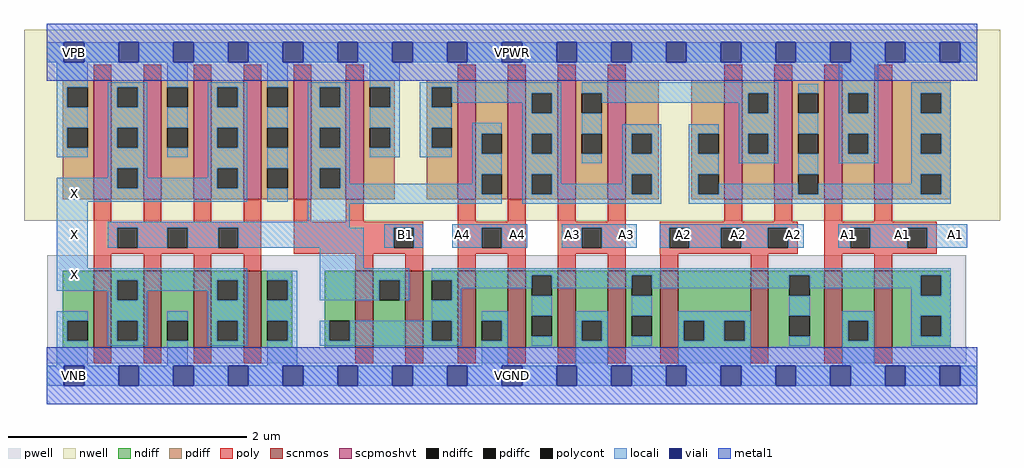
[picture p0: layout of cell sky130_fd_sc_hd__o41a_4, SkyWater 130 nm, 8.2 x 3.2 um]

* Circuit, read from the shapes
.subckt sky130_fd_sc_hd__o41a_4 A1 A2 A3 A4 B1 VGND VNB VPB VPWR X
XM1 X n1 VGND VNB sky130_fd_pr__nfet_01v8 w=0.65 l=0.15 m=4
XM2 n1 B1 n2 VNB sky130_fd_pr__nfet_01v8 w=0.65 l=0.15 m=2
XM3 VGND A4 n2 VNB sky130_fd_pr__nfet_01v8 w=0.65 l=0.15 m=2
XM4 VGND A3 n2 VNB sky130_fd_pr__nfet_01v8 w=0.65 l=0.15 m=2
XM5 VGND A2 n2 VNB sky130_fd_pr__nfet_01v8 w=0.65 l=0.15 m=2
XM6 VGND A1 n2 VNB sky130_fd_pr__nfet_01v8 w=0.65 l=0.15 m=2
XM7 X n1 VPWR VPB sky130_fd_pr__pfet_01v8_hvt w=1 l=0.15 m=4
XM8 n1 B1 VPWR VPB sky130_fd_pr__pfet_01v8_hvt w=1 l=0.15 m=2
XM9 n1 A4 n3 VPB sky130_fd_pr__pfet_01v8_hvt w=1 l=0.15 m=2
XM10 n4 A3 n3 VPB sky130_fd_pr__pfet_01v8_hvt w=1 l=0.15 m=2
XM11 n4 A2 n5 VPB sky130_fd_pr__pfet_01v8_hvt w=1 l=0.15 m=2
XM12 VPWR A1 n5 VPB sky130_fd_pr__pfet_01v8_hvt w=1 l=0.15 m=2
.ends

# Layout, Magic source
magic
tech sky130B
magscale 1 2
<< nwell >>
rect -38 261 1602 582
<< pwell >>
rect 1 21 1545 203
rect 30 -17 64 21
<< scnmos >>
rect 79 47 109 177
rect 163 47 193 177
rect 247 47 277 177
rect 331 47 361 177
rect 519 47 549 177
rect 603 47 633 177
rect 691 47 721 177
rect 775 47 805 177
rect 859 47 889 177
rect 943 47 973 177
rect 1031 47 1061 177
rect 1183 47 1213 177
rect 1307 47 1337 177
rect 1391 47 1421 177
<< scpmoshvt >>
rect 79 297 109 497
rect 163 297 193 497
rect 247 297 277 497
rect 331 297 361 497
rect 415 297 445 497
rect 503 297 533 497
rect 691 297 721 497
rect 775 297 805 497
rect 859 297 889 497
rect 943 297 973 497
rect 1139 297 1169 497
rect 1223 297 1253 497
rect 1307 297 1337 497
rect 1391 297 1421 497
<< ndiff >>
rect 27 93 79 177
rect 27 59 35 93
rect 69 59 79 93
rect 27 47 79 59
rect 109 161 163 177
rect 109 127 119 161
rect 153 127 163 161
rect 109 93 163 127
rect 109 59 119 93
rect 153 59 163 93
rect 109 47 163 59
rect 193 93 247 177
rect 193 59 203 93
rect 237 59 247 93
rect 193 47 247 59
rect 277 161 331 177
rect 277 127 287 161
rect 321 127 331 161
rect 277 93 331 127
rect 277 59 287 93
rect 321 59 331 93
rect 277 47 331 59
rect 361 161 413 177
rect 361 127 371 161
rect 405 127 413 161
rect 361 93 413 127
rect 361 59 371 93
rect 405 59 413 93
rect 361 47 413 59
rect 467 93 519 177
rect 467 59 475 93
rect 509 59 519 93
rect 467 47 519 59
rect 549 161 603 177
rect 549 127 559 161
rect 593 127 603 161
rect 549 47 603 127
rect 633 161 691 177
rect 633 127 647 161
rect 681 127 691 161
rect 633 93 691 127
rect 633 59 647 93
rect 681 59 691 93
rect 633 47 691 59
rect 721 93 775 177
rect 721 59 731 93
rect 765 59 775 93
rect 721 47 775 59
rect 805 169 859 177
rect 805 135 815 169
rect 849 135 859 169
rect 805 101 859 135
rect 805 67 815 101
rect 849 67 859 101
rect 805 47 859 67
rect 889 93 943 177
rect 889 59 899 93
rect 933 59 943 93
rect 889 47 943 59
rect 973 169 1031 177
rect 973 135 983 169
rect 1017 135 1031 169
rect 973 101 1031 135
rect 973 67 983 101
rect 1017 67 1031 101
rect 973 47 1031 67
rect 1061 93 1183 177
rect 1061 59 1071 93
rect 1105 59 1139 93
rect 1173 59 1183 93
rect 1061 47 1183 59
rect 1213 169 1307 177
rect 1213 135 1248 169
rect 1282 135 1307 169
rect 1213 101 1307 135
rect 1213 67 1248 101
rect 1282 67 1307 101
rect 1213 47 1307 67
rect 1337 93 1391 177
rect 1337 59 1347 93
rect 1381 59 1391 93
rect 1337 47 1391 59
rect 1421 169 1519 177
rect 1421 135 1469 169
rect 1503 135 1519 169
rect 1421 101 1519 135
rect 1421 67 1469 101
rect 1503 67 1519 101
rect 1421 47 1519 67
<< pdiff >>
rect 27 485 79 497
rect 27 451 35 485
rect 69 451 79 485
rect 27 417 79 451
rect 27 383 35 417
rect 69 383 79 417
rect 27 297 79 383
rect 109 485 163 497
rect 109 451 119 485
rect 153 451 163 485
rect 109 417 163 451
rect 109 383 119 417
rect 153 383 163 417
rect 109 349 163 383
rect 109 315 119 349
rect 153 315 163 349
rect 109 297 163 315
rect 193 485 247 497
rect 193 451 203 485
rect 237 451 247 485
rect 193 417 247 451
rect 193 383 203 417
rect 237 383 247 417
rect 193 297 247 383
rect 277 485 331 497
rect 277 451 287 485
rect 321 451 331 485
rect 277 417 331 451
rect 277 383 287 417
rect 321 383 331 417
rect 277 349 331 383
rect 277 315 287 349
rect 321 315 331 349
rect 277 297 331 315
rect 361 485 415 497
rect 361 451 371 485
rect 405 451 415 485
rect 361 417 415 451
rect 361 383 371 417
rect 405 383 415 417
rect 361 349 415 383
rect 361 315 371 349
rect 405 315 415 349
rect 361 297 415 315
rect 445 485 503 497
rect 445 451 459 485
rect 493 451 503 485
rect 445 417 503 451
rect 445 383 459 417
rect 493 383 503 417
rect 445 349 503 383
rect 445 315 459 349
rect 493 315 503 349
rect 445 297 503 315
rect 533 485 585 497
rect 533 451 543 485
rect 577 451 585 485
rect 533 417 585 451
rect 533 383 543 417
rect 577 383 585 417
rect 533 297 585 383
rect 639 485 691 497
rect 639 451 647 485
rect 681 451 691 485
rect 639 417 691 451
rect 639 383 647 417
rect 681 383 691 417
rect 639 297 691 383
rect 721 407 775 497
rect 721 373 731 407
rect 765 373 775 407
rect 721 339 775 373
rect 721 305 731 339
rect 765 305 775 339
rect 721 297 775 305
rect 805 475 859 497
rect 805 441 815 475
rect 849 441 859 475
rect 805 407 859 441
rect 805 373 815 407
rect 849 373 859 407
rect 805 339 859 373
rect 805 305 815 339
rect 849 305 859 339
rect 805 297 859 305
rect 889 475 943 497
rect 889 441 899 475
rect 933 441 943 475
rect 889 407 943 441
rect 889 373 899 407
rect 933 373 943 407
rect 889 297 943 373
rect 973 407 1029 497
rect 973 373 983 407
rect 1017 373 1029 407
rect 973 339 1029 373
rect 973 305 983 339
rect 1017 305 1029 339
rect 973 297 1029 305
rect 1083 407 1139 497
rect 1083 373 1095 407
rect 1129 373 1139 407
rect 1083 339 1139 373
rect 1083 305 1095 339
rect 1129 305 1139 339
rect 1083 297 1139 305
rect 1169 475 1223 497
rect 1169 441 1179 475
rect 1213 441 1223 475
rect 1169 407 1223 441
rect 1169 373 1179 407
rect 1213 373 1223 407
rect 1169 297 1223 373
rect 1253 475 1307 497
rect 1253 441 1263 475
rect 1297 441 1307 475
rect 1253 407 1307 441
rect 1253 373 1263 407
rect 1297 373 1307 407
rect 1253 339 1307 373
rect 1253 305 1263 339
rect 1297 305 1307 339
rect 1253 297 1307 305
rect 1337 475 1391 497
rect 1337 441 1347 475
rect 1381 441 1391 475
rect 1337 407 1391 441
rect 1337 373 1347 407
rect 1381 373 1391 407
rect 1337 297 1391 373
rect 1421 475 1519 497
rect 1421 441 1469 475
rect 1503 441 1519 475
rect 1421 407 1519 441
rect 1421 373 1469 407
rect 1503 373 1519 407
rect 1421 339 1519 373
rect 1421 305 1469 339
rect 1503 305 1519 339
rect 1421 297 1519 305
<< ndiffc >>
rect 35 59 69 93
rect 119 127 153 161
rect 119 59 153 93
rect 203 59 237 93
rect 287 127 321 161
rect 287 59 321 93
rect 371 127 405 161
rect 371 59 405 93
rect 475 59 509 93
rect 559 127 593 161
rect 647 127 681 161
rect 647 59 681 93
rect 731 59 765 93
rect 815 135 849 169
rect 815 67 849 101
rect 899 59 933 93
rect 983 135 1017 169
rect 983 67 1017 101
rect 1071 59 1105 93
rect 1139 59 1173 93
rect 1248 135 1282 169
rect 1248 67 1282 101
rect 1347 59 1381 93
rect 1469 135 1503 169
rect 1469 67 1503 101
<< pdiffc >>
rect 35 451 69 485
rect 35 383 69 417
rect 119 451 153 485
rect 119 383 153 417
rect 119 315 153 349
rect 203 451 237 485
rect 203 383 237 417
rect 287 451 321 485
rect 287 383 321 417
rect 287 315 321 349
rect 371 451 405 485
rect 371 383 405 417
rect 371 315 405 349
rect 459 451 493 485
rect 459 383 493 417
rect 459 315 493 349
rect 543 451 577 485
rect 543 383 577 417
rect 647 451 681 485
rect 647 383 681 417
rect 731 373 765 407
rect 731 305 765 339
rect 815 441 849 475
rect 815 373 849 407
rect 815 305 849 339
rect 899 441 933 475
rect 899 373 933 407
rect 983 373 1017 407
rect 983 305 1017 339
rect 1095 373 1129 407
rect 1095 305 1129 339
rect 1179 441 1213 475
rect 1179 373 1213 407
rect 1263 441 1297 475
rect 1263 373 1297 407
rect 1263 305 1297 339
rect 1347 441 1381 475
rect 1347 373 1381 407
rect 1469 441 1503 475
rect 1469 373 1503 407
rect 1469 305 1503 339
<< poly >>
rect 79 497 109 523
rect 163 497 193 523
rect 247 497 277 523
rect 331 497 361 523
rect 415 497 445 523
rect 503 497 533 523
rect 691 497 721 523
rect 775 497 805 523
rect 859 497 889 523
rect 943 497 973 523
rect 1139 497 1169 523
rect 1223 497 1253 523
rect 1307 497 1337 523
rect 1391 497 1421 523
rect 79 259 109 297
rect 163 259 193 297
rect 247 259 277 297
rect 331 259 361 297
rect 79 249 361 259
rect 79 215 119 249
rect 153 215 203 249
rect 237 215 288 249
rect 322 215 361 249
rect 79 205 361 215
rect 415 259 445 297
rect 503 259 533 297
rect 691 259 721 297
rect 775 259 805 297
rect 415 249 633 259
rect 415 215 583 249
rect 617 215 633 249
rect 415 205 633 215
rect 79 177 109 205
rect 163 177 193 205
rect 247 177 277 205
rect 331 177 361 205
rect 519 177 549 205
rect 603 177 633 205
rect 691 249 805 259
rect 691 215 731 249
rect 765 215 805 249
rect 691 205 805 215
rect 691 177 721 205
rect 775 177 805 205
rect 859 259 889 297
rect 943 259 973 297
rect 1139 259 1169 297
rect 1223 259 1253 297
rect 1307 259 1337 297
rect 1391 259 1421 297
rect 859 249 973 259
rect 859 215 899 249
rect 933 215 973 249
rect 859 205 973 215
rect 1030 249 1262 259
rect 1030 215 1046 249
rect 1080 215 1133 249
rect 1167 215 1212 249
rect 1246 215 1262 249
rect 1030 205 1262 215
rect 1307 249 1496 259
rect 1307 215 1350 249
rect 1384 215 1446 249
rect 1480 215 1496 249
rect 1307 205 1496 215
rect 859 177 889 205
rect 943 177 973 205
rect 1031 177 1061 205
rect 1183 177 1213 205
rect 1307 177 1337 205
rect 1391 177 1421 205
rect 79 21 109 47
rect 163 21 193 47
rect 247 21 277 47
rect 331 21 361 47
rect 519 21 549 47
rect 603 21 633 47
rect 691 21 721 47
rect 775 21 805 47
rect 859 21 889 47
rect 943 21 973 47
rect 1031 21 1061 47
rect 1183 21 1213 47
rect 1307 21 1337 47
rect 1391 21 1421 47
<< polycont >>
rect 119 215 153 249
rect 203 215 237 249
rect 288 215 322 249
rect 583 215 617 249
rect 731 215 765 249
rect 899 215 933 249
rect 1046 215 1080 249
rect 1133 215 1167 249
rect 1212 215 1246 249
rect 1350 215 1384 249
rect 1446 215 1480 249
<< locali >>
rect 0 527 29 561
rect 63 527 121 561
rect 155 527 213 561
rect 247 527 305 561
rect 339 527 397 561
rect 431 527 489 561
rect 523 527 581 561
rect 615 527 673 561
rect 707 527 765 561
rect 799 527 857 561
rect 891 527 949 561
rect 983 527 1041 561
rect 1075 527 1133 561
rect 1167 527 1225 561
rect 1259 527 1317 561
rect 1351 527 1409 561
rect 1443 527 1501 561
rect 1535 527 1564 561
rect 17 485 69 527
rect 17 451 35 485
rect 17 417 69 451
rect 17 383 35 417
rect 17 367 69 383
rect 103 485 169 493
rect 103 451 119 485
rect 153 451 169 485
rect 103 417 169 451
rect 103 383 119 417
rect 153 383 169 417
rect 103 349 169 383
rect 203 485 237 527
rect 203 417 237 451
rect 203 367 237 383
rect 271 485 337 493
rect 271 451 287 485
rect 321 451 337 485
rect 271 417 337 451
rect 271 383 287 417
rect 321 383 337 417
rect 103 333 119 349
rect 17 315 119 333
rect 153 333 169 349
rect 271 349 337 383
rect 271 333 287 349
rect 153 315 287 333
rect 321 315 337 349
rect 17 293 337 315
rect 371 485 405 527
rect 371 417 405 451
rect 371 349 405 383
rect 371 293 405 315
rect 439 485 509 493
rect 439 451 459 485
rect 493 451 509 485
rect 439 417 509 451
rect 439 383 459 417
rect 493 383 509 417
rect 439 349 509 383
rect 543 485 593 527
rect 577 451 593 485
rect 543 417 593 451
rect 577 383 593 417
rect 543 367 593 383
rect 627 485 865 493
rect 627 451 647 485
rect 681 475 865 485
rect 681 459 815 475
rect 627 417 681 451
rect 799 441 815 459
rect 849 441 865 475
rect 627 383 647 417
rect 627 367 681 383
rect 715 407 765 425
rect 715 373 731 407
rect 439 315 459 349
rect 493 323 509 349
rect 715 339 765 373
rect 715 323 731 339
rect 493 315 731 323
rect 439 305 731 315
rect 17 181 69 293
rect 439 289 765 305
rect 799 407 865 441
rect 799 373 815 407
rect 849 373 865 407
rect 799 339 865 373
rect 899 475 1229 493
rect 933 459 1179 475
rect 899 407 933 441
rect 1163 441 1179 459
rect 1213 441 1229 475
rect 899 357 933 373
rect 967 407 1033 423
rect 967 373 983 407
rect 1017 373 1033 407
rect 799 305 815 339
rect 849 323 865 339
rect 967 339 1033 373
rect 967 323 983 339
rect 849 305 983 323
rect 1017 305 1033 339
rect 799 289 1033 305
rect 1079 407 1129 423
rect 1079 373 1095 407
rect 1079 339 1129 373
rect 1163 407 1229 441
rect 1163 373 1179 407
rect 1213 373 1229 407
rect 1163 357 1229 373
rect 1263 475 1297 491
rect 1263 407 1297 441
rect 1079 305 1095 339
rect 1263 339 1297 373
rect 1331 475 1397 527
rect 1331 441 1347 475
rect 1381 441 1397 475
rect 1331 407 1397 441
rect 1331 373 1347 407
rect 1381 373 1397 407
rect 1331 357 1397 373
rect 1453 475 1519 493
rect 1453 441 1469 475
rect 1503 441 1519 475
rect 1453 407 1519 441
rect 1453 373 1469 407
rect 1503 373 1519 407
rect 1129 305 1263 323
rect 1453 339 1519 373
rect 1453 323 1469 339
rect 1297 305 1469 323
rect 1503 305 1519 339
rect 1079 289 1519 305
rect 439 259 509 289
rect 103 249 509 259
rect 567 249 633 255
rect 103 215 119 249
rect 153 215 203 249
rect 237 215 288 249
rect 322 215 533 249
rect 567 215 583 249
rect 617 215 633 249
rect 682 249 808 255
rect 682 215 731 249
rect 765 215 808 249
rect 866 249 992 255
rect 866 215 899 249
rect 933 215 992 249
rect 1030 249 1272 255
rect 1030 215 1046 249
rect 1080 215 1133 249
rect 1167 215 1212 249
rect 1246 215 1272 249
rect 1330 249 1547 255
rect 1330 215 1350 249
rect 1384 215 1446 249
rect 1480 215 1547 249
rect 459 181 533 215
rect 17 161 337 181
rect 17 143 119 161
rect 103 127 119 143
rect 153 143 287 161
rect 153 127 169 143
rect 17 93 69 109
rect 17 59 35 93
rect 17 17 69 59
rect 103 93 169 127
rect 271 127 287 143
rect 321 127 337 161
rect 103 59 119 93
rect 153 59 169 93
rect 103 51 169 59
rect 203 93 237 109
rect 203 17 237 59
rect 271 93 337 127
rect 271 59 287 93
rect 321 59 337 93
rect 271 51 337 59
rect 371 161 421 177
rect 405 127 421 161
rect 459 161 609 181
rect 459 127 559 161
rect 593 127 609 161
rect 647 169 1519 181
rect 647 161 815 169
rect 681 147 815 161
rect 681 127 697 147
rect 371 93 421 127
rect 647 93 697 127
rect 849 147 983 169
rect 405 59 421 93
rect 371 17 421 59
rect 459 59 475 93
rect 509 59 647 93
rect 681 59 697 93
rect 459 51 697 59
rect 731 93 775 109
rect 765 59 775 93
rect 731 17 775 59
rect 815 101 849 135
rect 1017 147 1248 169
rect 815 51 849 67
rect 889 93 943 109
rect 889 59 899 93
rect 933 59 943 93
rect 889 17 943 59
rect 983 101 1017 135
rect 1282 147 1469 169
rect 983 51 1017 67
rect 1061 93 1183 109
rect 1061 59 1071 93
rect 1105 59 1139 93
rect 1173 59 1183 93
rect 1061 17 1183 59
rect 1248 101 1282 135
rect 1453 135 1469 147
rect 1503 135 1519 169
rect 1248 51 1282 67
rect 1337 93 1391 109
rect 1337 59 1347 93
rect 1381 59 1391 93
rect 1337 17 1391 59
rect 1453 101 1519 135
rect 1453 67 1469 101
rect 1503 67 1519 101
rect 1453 51 1519 67
rect 0 -17 29 17
rect 63 -17 121 17
rect 155 -17 213 17
rect 247 -17 305 17
rect 339 -17 397 17
rect 431 -17 489 17
rect 523 -17 581 17
rect 615 -17 673 17
rect 707 -17 765 17
rect 799 -17 857 17
rect 891 -17 949 17
rect 983 -17 1041 17
rect 1075 -17 1133 17
rect 1167 -17 1225 17
rect 1259 -17 1317 17
rect 1351 -17 1409 17
rect 1443 -17 1501 17
rect 1535 -17 1564 17
<< viali >>
rect 29 527 63 561
rect 121 527 155 561
rect 213 527 247 561
rect 305 527 339 561
rect 397 527 431 561
rect 489 527 523 561
rect 581 527 615 561
rect 673 527 707 561
rect 765 527 799 561
rect 857 527 891 561
rect 949 527 983 561
rect 1041 527 1075 561
rect 1133 527 1167 561
rect 1225 527 1259 561
rect 1317 527 1351 561
rect 1409 527 1443 561
rect 1501 527 1535 561
rect 29 -17 63 17
rect 121 -17 155 17
rect 213 -17 247 17
rect 305 -17 339 17
rect 397 -17 431 17
rect 489 -17 523 17
rect 581 -17 615 17
rect 673 -17 707 17
rect 765 -17 799 17
rect 857 -17 891 17
rect 949 -17 983 17
rect 1041 -17 1075 17
rect 1133 -17 1167 17
rect 1225 -17 1259 17
rect 1317 -17 1351 17
rect 1409 -17 1443 17
rect 1501 -17 1535 17
<< metal1 >>
rect 0 561 1564 592
rect 0 527 29 561
rect 63 527 121 561
rect 155 527 213 561
rect 247 527 305 561
rect 339 527 397 561
rect 431 527 489 561
rect 523 527 581 561
rect 615 527 673 561
rect 707 527 765 561
rect 799 527 857 561
rect 891 527 949 561
rect 983 527 1041 561
rect 1075 527 1133 561
rect 1167 527 1225 561
rect 1259 527 1317 561
rect 1351 527 1409 561
rect 1443 527 1501 561
rect 1535 527 1564 561
rect 0 496 1564 527
rect 0 17 1564 48
rect 0 -17 29 17
rect 63 -17 121 17
rect 155 -17 213 17
rect 247 -17 305 17
rect 339 -17 397 17
rect 431 -17 489 17
rect 523 -17 581 17
rect 615 -17 673 17
rect 707 -17 765 17
rect 799 -17 857 17
rect 891 -17 949 17
rect 983 -17 1041 17
rect 1075 -17 1133 17
rect 1167 -17 1225 17
rect 1259 -17 1317 17
rect 1351 -17 1409 17
rect 1443 -17 1501 17
rect 1535 -17 1564 17
rect 0 -48 1564 -17
<< labels >>
flabel locali s 1510 221 1544 255 0 FreeSans 250 0 0 0 A1
port 1 nsew signal input
flabel locali s 1422 221 1456 255 0 FreeSans 250 0 0 0 A1
port 1 nsew signal input
flabel locali s 1330 221 1364 255 0 FreeSans 250 0 0 0 A1
port 1 nsew signal input
flabel locali s 1238 221 1272 255 0 FreeSans 250 0 0 0 A2
port 2 nsew signal input
flabel locali s 1146 221 1180 255 0 FreeSans 250 0 0 0 A2
port 2 nsew signal input
flabel locali s 1054 221 1088 255 0 FreeSans 250 0 0 0 A2
port 2 nsew signal input
flabel locali s 958 221 992 255 0 FreeSans 250 0 0 0 A3
port 3 nsew signal input
flabel locali s 866 221 900 255 0 FreeSans 250 0 0 0 A3
port 3 nsew signal input
flabel locali s 774 221 808 255 0 FreeSans 250 0 0 0 A4
port 4 nsew signal input
flabel locali s 682 221 716 255 0 FreeSans 250 0 0 0 A4
port 4 nsew signal input
flabel locali s 586 221 620 255 0 FreeSans 250 0 0 0 B1
port 5 nsew signal input
flabel locali s 30 289 64 323 0 FreeSans 250 0 0 0 X
port 10 nsew signal output
flabel locali s 30 221 64 255 0 FreeSans 250 0 0 0 X
port 10 nsew signal output
flabel locali s 30 153 64 187 0 FreeSans 250 0 0 0 X
port 10 nsew signal output
flabel pwell s 30 -17 64 17 0 FreeSans 200 0 0 0 VNB
port 7 nsew ground bidirectional
flabel nwell s 30 527 64 561 0 FreeSans 200 0 0 0 VPB
port 8 nsew power bidirectional
flabel metal1 s 30 -17 64 17 0 FreeSans 200 0 0 0 VGND
port 6 nsew ground bidirectional abutment
flabel metal1 s 30 527 64 561 0 FreeSans 200 0 0 0 VPWR
port 9 nsew power bidirectional abutment
rlabel comment s 0 0 0 0 4 o41a_4
rlabel metal1 s 0 -48 1564 48 1 VGND
port 6 nsew ground bidirectional abutment
rlabel metal1 s 0 496 1564 592 1 VPWR
port 9 nsew power bidirectional abutment
<< properties >>
string FIXED_BBOX 0 0 1564 544
string GDS_END 712108
string GDS_FILE $PDKPATH/libs.ref/sky130_fd_sc_hd/gds/sky130_fd_sc_hd.gds
string GDS_START 699004
string LEFclass CORE
string LEFsite unithd
string LEFsymmetry X Y R90
string path 0.000 0.000 7.820 0.000 
<< end >>
